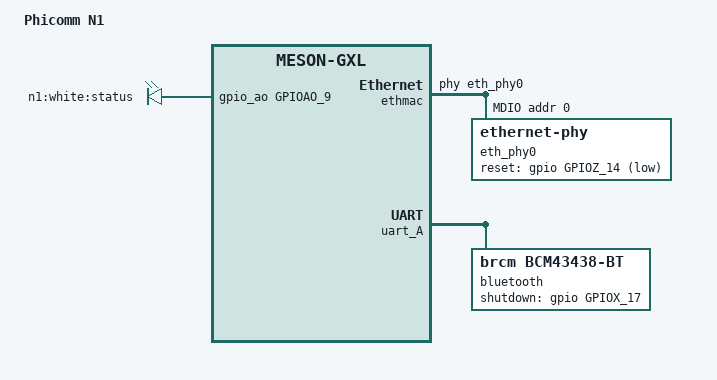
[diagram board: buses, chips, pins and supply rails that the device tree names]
// SPDX-License-Identifier: (GPL-2.0+ OR MIT)
/*
* Copyright (c) 2018 He Yangxuan
*/

/dts-v1/;

#include "meson-gxl-s905d-p230.dts"

/ {
    compatible = "phicomm,n1", "amlogic,s905d", "amlogic,meson-gxl";
    model = "Phicomm N1";

    reserved-memory {
        linux,cma {
            size = <0x0 0x38000000>;
        };
    };

    cvbs-connector {
        status = "disabled";
    };

    leds {
        compatible = "gpio-leds";
        status {
            label = "n1:white:status";
            gpios = <&gpio_ao GPIOAO_9 GPIO_ACTIVE_HIGH>;
            default-state = "on";
        };
    };

    soc {
        usb: usb@d0078080 {
            dwc3: usb@c9000000 {
                /* Workaround for broken LPM implementation found in many USB3 devices. */
                usb2-lpm-disable;
            };
        };
    };

    sound {
        model = "Phicomm-N1";
        /delete-property/ audio-aux-devs;
        /delete-property/ audio-widgets;
        /delete-property/ audio-routing;

        /* disable SPDIF */
        /delete-node/ dai-link-1;
        /delete-node/ dai-link-3;

        /* disable ACODEC */
        dai-link-2 {
            /delete-node/ code-1;
        };

        /delete-node/ dai-link-5;
    };
};

&cvbs_vdac_port {
    status = "disabled";
};

&usb {
    dr_mode = "host";
};

&sd_emmc_b {
    /* disable SD CARD */
    status = "disabled";
};

&ethmac {
    phy-handle = <&eth_phy0>;
    mdio {
        compatible = "snps,dwmac-mdio";
        #address-cells = <1>;
        #size-cells = <0>;
        eth_phy0: ethernet-phy@0 {
            /* Realtek RTL8211F (0x001cc916) */
            reg = <0>;
            reset-assert-us = <10000>;
            reset-deassert-us = <80000>;
            reset-gpios = <&gpio GPIOZ_14 GPIO_ACTIVE_LOW>;
            interrupt-parent = <&gpio_intc>;
            /* MAC_INTR on GPIOZ_15 */
            interrupts = <29 IRQ_TYPE_LEVEL_LOW>;
        };
    };
};

/* This UART is connected to the Bluetooth module */
&uart_A {
    status = "okay";
    pinctrl-0 = <&uart_a_pins>, <&uart_a_cts_rts_pins>;
    pinctrl-names = "default";
    uart-has-rtscts;

    bluetooth {
        compatible = "brcm,bcm43438-bt";
        shutdown-gpios = <&gpio GPIOX_17 GPIO_ACTIVE_HIGH>;
        max-speed = <2000000>;
        clocks = <&wifi32k>;
        clock-names = "lpo";
    };
};
